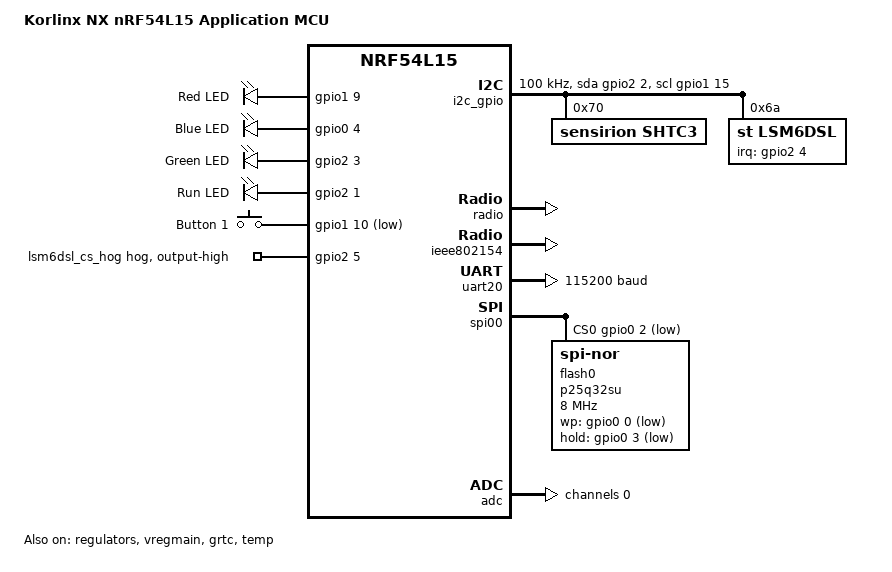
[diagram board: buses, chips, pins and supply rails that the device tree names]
/*
 * Copyright (c) 2026 Korlinx
 *
 * SPDX-License-Identifier: Apache-2.0
 */

/dts-v1/;

#include <nordic/nrf54l15_cpuapp.dtsi>
#include <zephyr/dt-bindings/gpio/gpio.h>
#include <zephyr/dt-bindings/input/input-event-codes.h>
#include <zephyr/dt-bindings/i2c/i2c.h>
#include <zephyr/dt-bindings/adc/adc.h>
#include <zephyr/dt-bindings/adc/nrf-saadc.h>
#include "nx15-pinctrl.dtsi"

/ {
	compatible = "korlinx,nx15-cpuapp";
	model = "Korlinx NX nRF54L15 Application MCU";

	chosen {
		zephyr,console = &uart20;
		zephyr,shell-uart = &uart20;
		zephyr,uart-mcumgr = &uart20;
		zephyr,code-partition = &slot0_partition;
		zephyr,sram = &cpuapp_sram;
		zephyr,flash = &cpuapp_rram;
		zephyr,flash-controller = &rram_controller;
	};

	leds {
		compatible = "gpio-leds";

		led_red: led_0 {
			gpios = <&gpio1 9 GPIO_ACTIVE_HIGH>;
			label = "Red LED";
		};

		led_blue: led_1 {
			gpios = <&gpio0 4 GPIO_ACTIVE_HIGH>;
			label = "Blue LED";
		};

		led_green: led_2 {
			gpios = <&gpio2 3 GPIO_ACTIVE_HIGH>;
			label = "Green LED";
		};

		led_run: led_3 {
			gpios = <&gpio2 1 GPIO_ACTIVE_HIGH>;
			label = "Run LED";
		};
	};

	buttons {
		compatible = "gpio-keys";

		button1: button_1 {
			gpios = <&gpio1 10 (GPIO_PULL_UP | GPIO_ACTIVE_LOW)>;
			label = "Button 1";
			zephyr,code = <INPUT_KEY_0>;
		};
	};

	aliases {
		led0 = &led_red;
		led1 = &led_blue;
		led2 = &led_green;
		led3 = &led_run;
		sw0 = &button1;
		dht0 = &shtc3;
		watchdog0 = &wdt31;
	};
};

&cpuapp_sram {
	status = "okay";
};

&lfxo {
	load-capacitors = "internal";
	load-capacitance-femtofarad = <17000>;
};

&hfxo {
	load-capacitors = "internal";
	load-capacitance-femtofarad = <15000>;
};

&regulators {
	status = "okay";
};

&vregmain {
	status = "okay";
	regulator-initial-mode = <NRF5X_REG_MODE_DCDC>;
};

&grtc {
	owned-channels = <0 1 2 3 4 5 6 7 8 9 10 11>;
	child-owned-channels = <3 4 7 8 9 10 11>;
	status = "okay";
};

&clock {
	status = "okay";
};

&temp {
	status = "okay";
};

&radio {
	status = "okay";
};

&ieee802154 {
	status = "okay";
};

&gpio0 {
	status = "okay";
};

&gpio1 {
	status = "okay";
};

&gpio2 {
	status = "okay";
};

&gpiote20 {
	status = "okay";
};

&gpiote30 {
	status = "okay";
};

&uart20 {
	status = "okay";
	current-speed = <115200>;
	pinctrl-0 = <&uart20_default>;
	pinctrl-1 = <&uart20_sleep>;
	pinctrl-names = "default", "sleep";
};

&spi00 {
	status = "okay";
	cs-gpios = <&gpio0 2 GPIO_ACTIVE_LOW>;
	pinctrl-0 = <&spi00_default>;
	pinctrl-1 = <&spi00_sleep>;
	pinctrl-names = "default", "sleep";

	flash0: p25q32su@0 {
		compatible = "jedec,spi-nor";
		status = "okay";
		reg = <0>;
		spi-max-frequency = <8000000>;
		jedec-id = [85 60 16];
		size = <33554432>;
		wp-gpios = <&gpio0 0 GPIO_ACTIVE_LOW>;
		hold-gpios = <&gpio0 3 GPIO_ACTIVE_LOW>;
	};
};

/ {
	/*
	 * The on-board I2C bus, SDA P2.02 and SCL P1.15. The nRF54L15 TWIM
	 * peripherals cannot use port 2 pins, so the bus is bit-banged.
	 */
	i2c_gpio: i2c-gpio {
		compatible = "gpio-i2c";
		#address-cells = <1>;
		#size-cells = <0>;
		sda-gpios = <&gpio2 2 (GPIO_OPEN_DRAIN | GPIO_PULL_UP)>;
		scl-gpios = <&gpio1 15 (GPIO_OPEN_DRAIN | GPIO_PULL_UP)>;
		clock-frequency = <I2C_BITRATE_STANDARD>;

		shtc3: shtc3@70 {
			compatible = "sensirion,shtc3", "sensirion,shtcx";
			status = "okay";
			reg = <0x70>;
			measure-mode = "normal";
			clock-stretching;
		};

		lsm6dsl: lsm6dsl@6a {
			compatible = "st,lsm6dsl";
			status = "okay";
			reg = <0x6a>;
			irq-gpios = <&gpio2 4 GPIO_ACTIVE_HIGH>;
		};
	};
};

&gpio2 {
	lsm6dsl_cs_hog {
		gpio-hog;
		gpios = <5 GPIO_ACTIVE_HIGH>;
		output-high;
	};
};

&adc {
	status = "okay";
	#address-cells = <1>;
	#size-cells = <0>;

	vbat_channel: channel@0 {
		reg = <0>;
		zephyr,gain = "ADC_GAIN_1_6";
		zephyr,reference = "ADC_REF_INTERNAL";
		zephyr,acquisition-time = <ADC_ACQ_TIME_DEFAULT>;
		zephyr,input-positive = <NRF_SAADC_AIN7>;
		zephyr,resolution = <12>;
	};
};

#include <vendor/nordic/nrf54l15_cpuapp_partition.dtsi>
